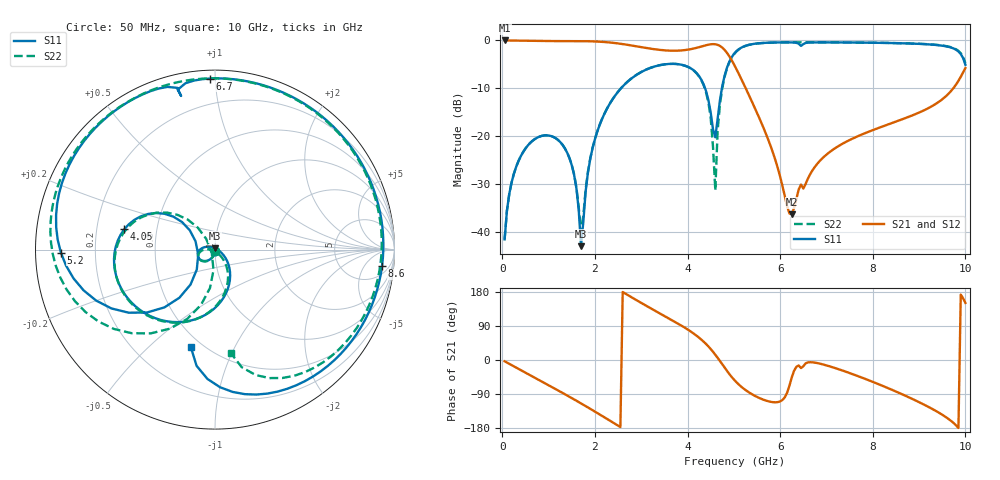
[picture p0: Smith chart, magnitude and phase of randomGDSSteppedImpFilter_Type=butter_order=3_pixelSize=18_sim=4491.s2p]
! freq	dB(S11)	phase(S11)	dB(S12)	phase(S12)
!  dB(S21)	phase(S21)	dB(S22)	phase(S22)
!S-par simulation data
#  GHz  S  DB  R 50
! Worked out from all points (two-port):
!   200 points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, 50 MHz to 10 GHz, reference 50 ohm
!   highest |S21| = 0.00 dB at 50 MHz (marker M1); lowest = -36.3 dB at 6.25 GHz (marker M2)
!   |S21| within 3 dB of the highest: start of sweep to 4.881 GHz
!   lowest |S11| = -43.0 dB at 1.7 GHz (marker M3), VSWR 1.01, Z = 50 + j0.711 ohm
!   |S11| at or under -10 dB: start of sweep to 2.563 GHz; 4.378 GHz to 4.742 GHz (363.9 MHz wide, 7.98 % of centre)
!   |S22| runs from -41.5 to -0.4 dB; largest |S21 - S12| = 0
!   S11 on the Smith chart (normalised r, x): 50 MHz: 1.00, -0.02; 4.05 GHz: 0.32, +0.10; 5.2 GHz: 0.08, -0.01; 6.7 GHz: 0.05, +0.97; 8.6 GHz: 9, -14; 10 GHz: 0.44, -0.68
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0.05  -41.54 -92.6  -0.00 -3.4  -0.00 -3.4  -41.54 -92.5
0.35  -25.17 -114.0  -0.05 -23.4  -0.05 -23.4  -25.17 -112.7
1  -19.85 -159.3  -0.13 -66.6  -0.13 -66.6  -19.85 -154.5
1.5  -26.04 161.9  -0.13 -100.5  -0.13 -100.5  -26.01 178.5
1.7  -42.96 87.7  -0.14 -114.5  -0.14 -114.5  -40.07 -130.4
1.75  -37.86 1.5  -0.15 -118.1  -0.15 -118.1  -36.56 -69.5
1.9  -24.71 -33.5  -0.18 -128.8  -0.18 -128.8  -24.59 -49.2
2.2  -15.42 -60.1  -0.32 -150.9  -0.32 -150.9  -15.39 -64.7
3.4  -5.17 -148.0  -1.97 123.2  -1.97 123.2  -5.16 -146.1
4.05  -5.71 167.4  -1.86 76.8  -1.86 76.8  -5.74 169.3
4.45  -12.43 140.1  -0.89 35.9  -0.89 35.9  -12.91 132.3
4.6  -20.22 -163.1  -0.80 14.0  -0.80 14.0  -31.33 -130.4
4.65  -16.44 -132.3  -0.92 5.8  -0.92 5.8  -18.80 -94.2
4.75  -9.55 -126.5  -1.49 -11.5  -1.49 -11.5  -9.97 -104.2
5.05  -2.31 -162.8  -5.87 -57.9  -5.87 -57.9  -2.35 -148.3
5.2  -1.32 -178.9  -8.83 -74.5  -8.83 -74.5  -1.35 -165.0
6.25  -0.42 112.2  -36.27 -46.2  -36.27 -46.2  -0.39 128.6
6.7  -0.41 91.6  -27.09 -6.1  -27.09 -6.1  -0.39 107.5
8.35  -0.53 7.7  -17.47 -75.3  -17.47 -75.3  -0.52 28.0
8.6  -0.58 -5.7  -16.59 -88.5  -16.59 -88.5  -0.57 14.7
9.55  -1.17 -62.5  -11.90 -148.3  -11.90 -148.3  -1.12 -42.4
10  -5.07 -104.0  -5.77 150.7  -5.77 150.7  -4.73 -81.4
